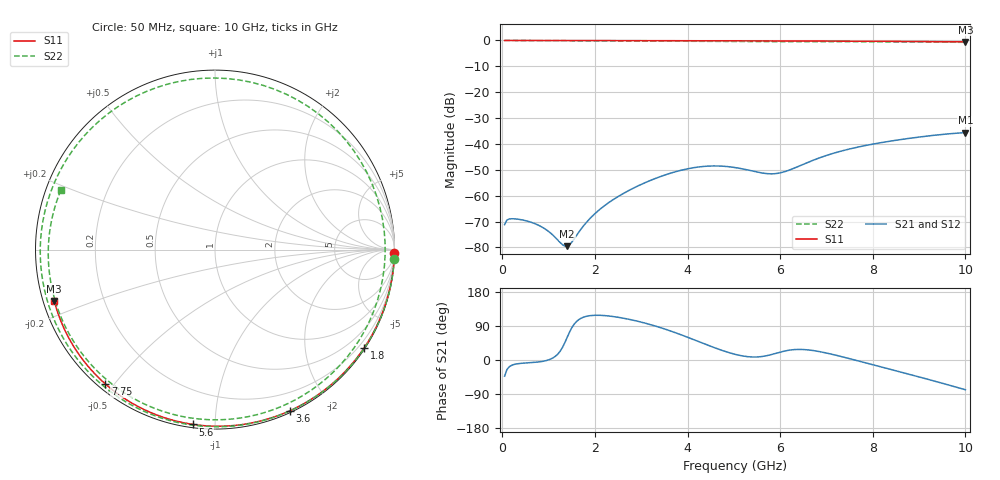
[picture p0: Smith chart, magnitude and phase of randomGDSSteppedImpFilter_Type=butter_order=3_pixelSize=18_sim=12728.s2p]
! freq	dB(S11)	phase(S11)	dB(S12)	phase(S12)
!  dB(S21)	phase(S21)	dB(S22)	phase(S22)
!S-par simulation data
#  GHz  S  DB  R 50
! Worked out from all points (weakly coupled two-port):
!   200 points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, 50 MHz to 10 GHz, reference 50 ohm
!   highest |S21| = -35.61 dB at 10 GHz (marker M1); lowest = -79.5 dB at 1.4 GHz (marker M2)
!   lowest |S11| = -0.5 dB at 10 GHz (marker M3), VSWR 32.39, Z = 1.58 - j7.8 ohm
!   |S11| at or under -10 dB: nowhere
!   |S22| runs from -0.7 to 0.0 dB; largest |S21 - S12| = 0
!   S11 on the Smith chart (normalised r, x): 50 MHz: open; 1.8 GHz: 0.03, -3.33; 3.6 GHz: 0.02, -1.57; 5.6 GHz: 0.02, -0.88; 7.75 GHz: 0.02, -0.47; 10 GHz: 0.03, -0.16
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0.05  -0.00 -0.9  -71.17 -42.7  -71.17 -42.7  -0.00 -2.9
0.2  -0.00 -3.8  -68.91 -14.1  -68.91 -14.1  -0.00 -11.6
0.65  -0.01 -12.2  -70.44 -6.6  -70.44 -6.6  -0.03 -37.3
1.4  -0.03 -26.1  -79.51 59.5  -79.51 59.5  -0.10 -78.6
1.75  -0.04 -32.5  -71.74 112.8  -71.74 112.8  -0.12 -97.2
1.8  -0.04 -33.4  -70.65 114.8  -70.65 114.8  -0.12 -99.9
2.25  -0.05 -41.5  -63.29 116.8  -63.29 116.8  -0.15 -123.5
2.7  -0.06 -49.5  -58.30 108.3  -58.30 108.3  -0.18 -147.3
3.4  -0.08 -61.6  -52.70 86.0  -52.70 86.0  -0.24 173.4
3.6  -0.09 -65.0  -51.48 78.0  -51.48 78.0  -0.26 161.2
4  -0.10 -71.7  -49.60 60.1  -49.60 60.1  -0.31 135.0
4.4  -0.11 -78.2  -48.62 41.0  -48.62 41.0  -0.36 105.8
4.75  -0.12 -83.9  -48.59 25.2  -48.59 25.2  -0.41 77.8
5.05  -0.14 -88.6  -49.19 14.3  -49.19 14.3  -0.44 52.6
5.6  -0.16 -97.2  -51.19 9.1  -51.19 9.1  -0.46 6.3
6.2  -0.19 -106.4  -50.09 26.0  -50.09 26.0  -0.46 -39.0
6.7  -0.22 -113.8  -46.39 25.2  -46.39 25.2  -0.45 -70.4
7.2  -0.26 -121.2  -43.34 12.8  -43.34 12.8  -0.46 -96.7
7.75  -0.30 -129.3  -40.94 -4.4  -40.94 -4.4  -0.49 -121.2
8.35  -0.35 -138.0  -38.99 -23.7  -38.99 -23.7  -0.54 -144.5
9.15  -0.43 -149.6  -37.01 -49.6  -37.01 -49.6  -0.62 -172.5
10  -0.54 -162.3  -35.61 -78.5  -35.61 -78.5  -0.72 159.0
